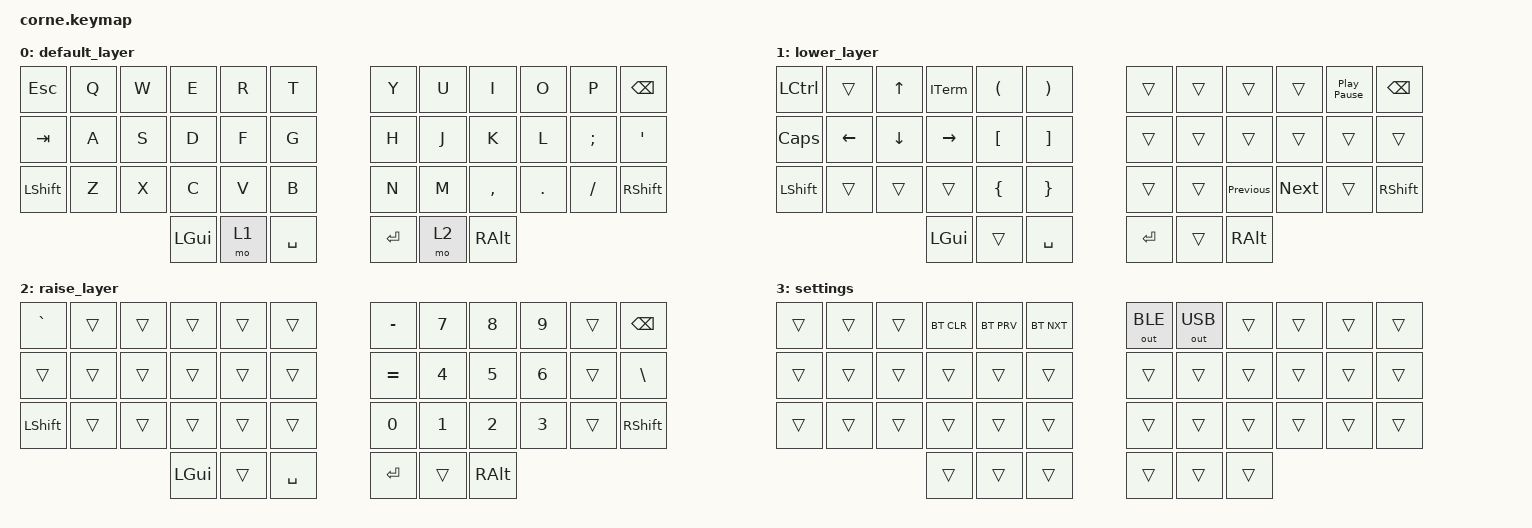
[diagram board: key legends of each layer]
/*
 * Copyright (c) 2020 The ZMK Contributors
 *
 * SPDX-License-Identifier: MIT
 */

#include <behaviors.dtsi>
#include <dt-bindings/zmk/bt.h>
#include <dt-bindings/zmk/keys.h>
#include <dt-bindings/zmk/outputs.h>

/ {
    macros {
        ITerm: ITerm {
            compatible = "zmk,behavior-macro";
            #binding-cells = <0>;
            bindings =
                <&macro_press>,
                <&kp LCTRL>,
                <&macro_tap>,
                <&kp ESC>,
                <&macro_release>,
                <&kp LCTRL>;

            label = "ITERM";
        };

        Previous: Previous {
            compatible = "zmk,behavior-macro";
            #binding-cells = <0>;
            bindings =
                <&macro_press>,
                <&kp LEFT_SHIFT &kp LCMD>,
                <&macro_tap>,
                <&kp LEFT_BRACE>,
                <&macro_release>,
                <&kp LEFT_SHIFT &kp LCMD>;

            label = "PREVIOUS";
        };

        Play_Pause: Play_Pause {
            compatible = "zmk,behavior-macro";
            #binding-cells = <0>;
            bindings =
                <&macro_press>,
                <&kp LEFT_SHIFT &kp LCMD>,
                <&macro_tap>,
                <&kp SPACE>,
                <&macro_release>,
                <&kp LEFT_SHIFT &kp LCMD>;

            label = "PLAY_PAUSE";
        };

        Next: Next {
            compatible = "zmk,behavior-macro";
            #binding-cells = <0>;
            bindings =
                <&macro_press>,
                <&kp LEFT_SHIFT &kp LCMD>,
                <&macro_tap>,
                <&kp RIGHT_BRACE>,
                <&macro_release>,
                <&kp LEFT_SHIFT &kp LCMD>;

            label = "NEXT";
        };
    };

    combos {
        compatible = "zmk,combos";

        Settings {
            bindings = <&mo 3>;
            key-positions = <40 37>;
            layers = <0>;
        };
    };

    keymap {
        compatible = "zmk,keymap";

        default_layer {
            // -----------------------------------------------------------------------------------------
            // |  TAB |  Q  |  W  |  E  |  R  |  T  |   |  Y  |  U   |  I  |  O  |  P  | BKSP |
            // | CTRL |  A  |  S  |  D  |  F  |  G  |   |  H  |  J   |  K  |  L  |  ;  |  '   |
            // | SHFT |  Z  |  X  |  C  |  V  |  B  |   |  N  |  M   |  ,  |  .  |  /  | ESC  |
            //                    | GUI | LWR | SPC |   | ENT | RSE  | ALT |

            bindings = <
&kp ESC         &kp Q  &kp W  &kp E     &kp R  &kp T        &kp Y    &kp U  &kp I      &kp O    &kp P     &kp BSPC
&kp TAB         &kp A  &kp S  &kp D     &kp F  &kp G        &kp H    &kp J  &kp K      &kp L    &kp SEMI  &kp SINGLE_QUOTE
&kp LEFT_SHIFT  &kp Z  &kp X  &kp C     &kp V  &kp B        &kp N    &kp M  &kp COMMA  &kp DOT  &kp FSLH  &kp RIGHT_SHIFT
                              &kp LGUI  &mo 1  &kp SPACE    &kp RET  &mo 2  &kp RALT
            >;
        };

        lower_layer {
            // -----------------------------------------------------------------------------------------
            // |  TAB |  1  |  2  |  3  |  4  |  5  |   |  6  |  7  |  8  |  9  |  0  | BKSP |
            // | BTCLR| BT1 | BT2 | BT3 | BT4 | BT5 |   | LFT | DWN |  UP | RGT |     |      |
            // | SHFT |     |     |     |     |     |   |     |     |     |     |     |      |
            //                    | GUI |     | SPC |   | ENT |     | ALT |

            bindings = <
&kp LCTRL       &trans          &kp UP_ARROW    &ITerm           &kp LEFT_PARENTHESIS  &kp RIGHT_PARENTHESIS    &trans   &trans  &trans     &trans  &Play_Pause  &kp BSPC
&kp CAPS        &kp LEFT_ARROW  &kp DOWN_ARROW  &kp RIGHT_ARROW  &kp LEFT_BRACKET      &kp RIGHT_BRACKET        &trans   &trans  &trans     &trans  &trans       &trans
&kp LEFT_SHIFT  &trans          &trans          &trans           &kp LEFT_BRACE        &kp RIGHT_BRACE          &trans   &trans  &Previous  &Next   &trans       &kp RIGHT_SHIFT
                                                &kp LGUI         &trans                &kp SPACE                &kp RET  &trans  &kp RALT
            >;
        };

        raise_layer {
            // -----------------------------------------------------------------------------------------
            // |  TAB |  !  |  @  |  #  |  $  |  %  |   |  ^  |  &  |  *  |  (  |  )  | BKSP |
            // | CTRL |     |     |     |     |     |   |  -  |  =  |  [  |  ]  |  \  |  `   |
            // | SHFT |     |     |     |     |     |   |  _  |  +  |  {  |  }  | "|" |  ~   |
            //                    | GUI |     | SPC |   | ENT |     | ALT |

            bindings = <
&kp GRAVE       &trans  &trans  &trans    &trans  &trans       &kp MINUS  &kp N7        &kp N8        &kp N9        &trans  &kp BSPC
&trans          &trans  &trans  &trans    &trans  &trans       &kp EQUAL  &kp NUMBER_4  &kp NUMBER_5  &kp NUMBER_6  &trans  &kp BSLH
&kp LEFT_SHIFT  &trans  &trans  &trans    &trans  &trans       &kp N0     &kp NUMBER_1  &kp NUMBER_2  &kp NUMBER_3  &trans  &kp RIGHT_SHIFT
                                &kp LGUI  &trans  &kp SPACE    &kp RET    &trans        &kp RALT
            >;
        };

        settings {
            bindings = <
&trans  &trans  &trans  &bt BT_CLR  &bt BT_PRV  &bt BT_NXT    &out OUT_BLE  &out OUT_USB  &trans  &trans  &trans  &trans
&trans  &trans  &trans  &trans      &trans      &trans        &trans        &trans        &trans  &trans  &trans  &trans
&trans  &trans  &trans  &trans      &trans      &trans        &trans        &trans        &trans  &trans  &trans  &trans
                        &trans      &trans      &trans        &trans        &trans        &trans
            >;
        };
    };
};
